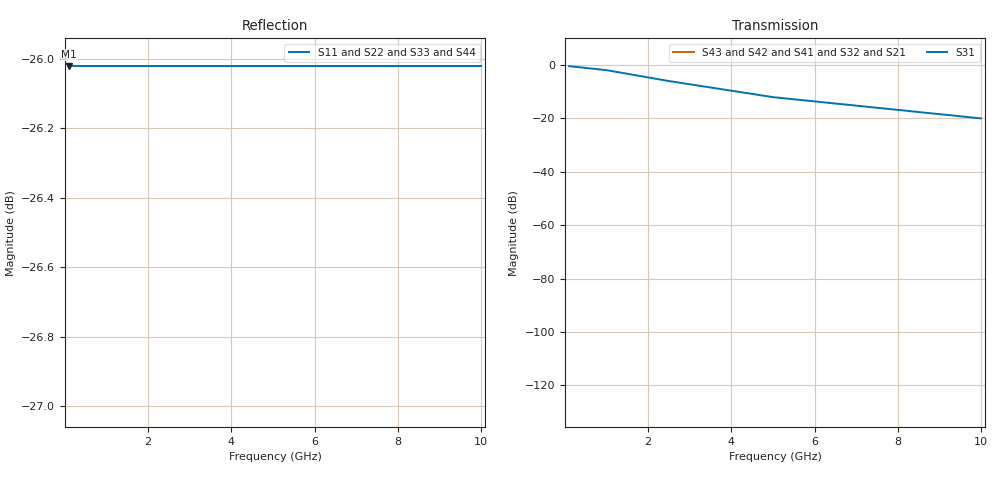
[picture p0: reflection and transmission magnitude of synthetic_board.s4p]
! SYNTHETIC DEMONSTRATION FILE - NOT MEASURED DATA
! Four-port row-wise matrix. S13/S31 are the illustrative through paths.
# GHz S MA R 50
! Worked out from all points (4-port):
!   5 points, 100 MHz to 10 GHz, reference 50 ohm
!   strongest paths, dB at 100 MHz, 1 GHz, 2.5 GHz, 5 GHz, 10 GHz:
!     S31: -0.4, -1.9, -6.0, -12.0, -20.0
!     S43: -, -, -, -, -
!     S42: -, -, -, -, -
!     S41: -, -, -, -, -
!     S32: -, -, -, -, -
!     S21: -, -, -, -, -
!   lowest |S11| = -26.0 dB at 100 MHz (marker M1), VSWR 1.11, Z = 55.3 + j0 ohm
!   |S11| at or under -10 dB: start of sweep to end of sweep
0.1  0.05 0.0  0 0.0  0.95 0.0  0 0.0
     0 0.0  0.05 0.0  0 0.0  0 0.0
     0.95 0.0  0 0.0  0.05 0.0  0 0.0
     0 0.0  0 0.0  0 0.0  0.05 0.0
1  0.05 0.0  0 0.0  0.8 0.0  0 0.0
   0 0.0  0.05 0.0  0 0.0  0 0.0
   0.8 0.0  0 0.0  0.05 0.0  0 0.0
   0 0.0  0 0.0  0 0.0  0.05 0.0
2.5  0.05 0.0  0 0.0  0.5 0.0  0 0.0
     0 0.0  0.05 0.0  0 0.0  0 0.0
     0.5 0.0  0 0.0  0.05 0.0  0 0.0
     0 0.0  0 0.0  0 0.0  0.05 0.0
5  0.05 0.0  0 0.0  0.25 0.0  0 0.0
   0 0.0  0.05 0.0  0 0.0  0 0.0
   0.25 0.0  0 0.0  0.05 0.0  0 0.0
   0 0.0  0 0.0  0 0.0  0.05 0.0
10  0.05 0.0  0 0.0  0.1 0.0  0 0.0
    0 0.0  0.05 0.0  0 0.0  0 0.0
    0.1 0.0  0 0.0  0.05 0.0  0 0.0
    0 0.0  0 0.0  0 0.0  0.05 0.0
